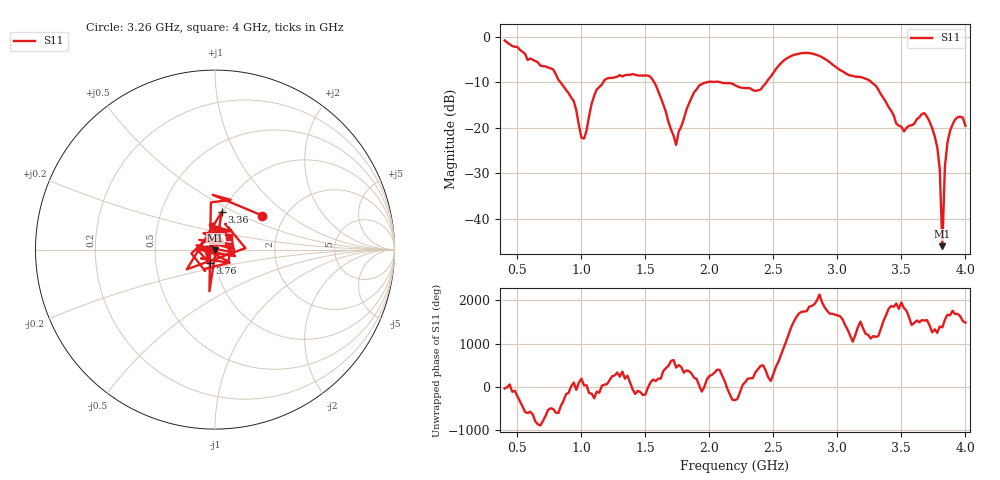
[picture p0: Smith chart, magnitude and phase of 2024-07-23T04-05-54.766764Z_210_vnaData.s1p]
!Created with skrf (http://scikit-rf.org).
# Hz S RI R 50.0
!freq ReS11 ImS11
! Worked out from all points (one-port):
!   181 points, 400 MHz to 4 GHz, reference 50 ohm
!   lowest |S11| = -46.0 dB at 3.82 GHz (marker M1), VSWR 1.01, Z = 50.2 - j0.463 ohm
!   |S11| at or under -10 dB: 1.569 GHz to 1.978 GHz (409 MHz wide, 23.1 % of centre); 2.091 GHz to 2.444 GHz (353.4 MHz wide, 15.6 % of centre); 3.268 GHz to end of sweep (the widest 3 of 4)
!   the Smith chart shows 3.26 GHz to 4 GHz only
!   S11 on the Smith chart (normalised r, x): 3.26 GHz: 1.54, +0.65; 3.36 GHz: 0.98, +0.43; 3.76 GHz: 0.93, -0.14; 4 GHz: 1.16, +0.17
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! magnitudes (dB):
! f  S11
! 400 MHz  -0.8
! 780 MHz  -7.2
! 860 MHz  -10.9
! 940 MHz  -14.1
! 1 GHz  -22.1
! 1.02 GHz  -22.3
! 1.12 GHz  -11.5
! 1.3 GHz  -8.4
! 1.54 GHz  -8.8
! 1.74 GHz  -23.7
! 1.76 GHz  -20.8
! 1.92 GHz  -10.7
! 2.2 GHz  -10.6
! 2.4 GHz  -11.6
! 2.66 GHz  -3.9
! 3.1 GHz  -8.5
! 3.26 GHz  -9.8
! 3.36 GHz  -13.4
! 3.46 GHz  -19.0
! 3.56 GHz  -19.5
! 3.68 GHz  -16.8
! 3.76 GHz  -21.8
! 3.8 GHz  -29.1
! 3.82 GHz  -46.0
! 3.84 GHz  -28.5
! 3.86 GHz  -23.2
! 3.92 GHz  -18.1
! 4 GHz  -19.5
